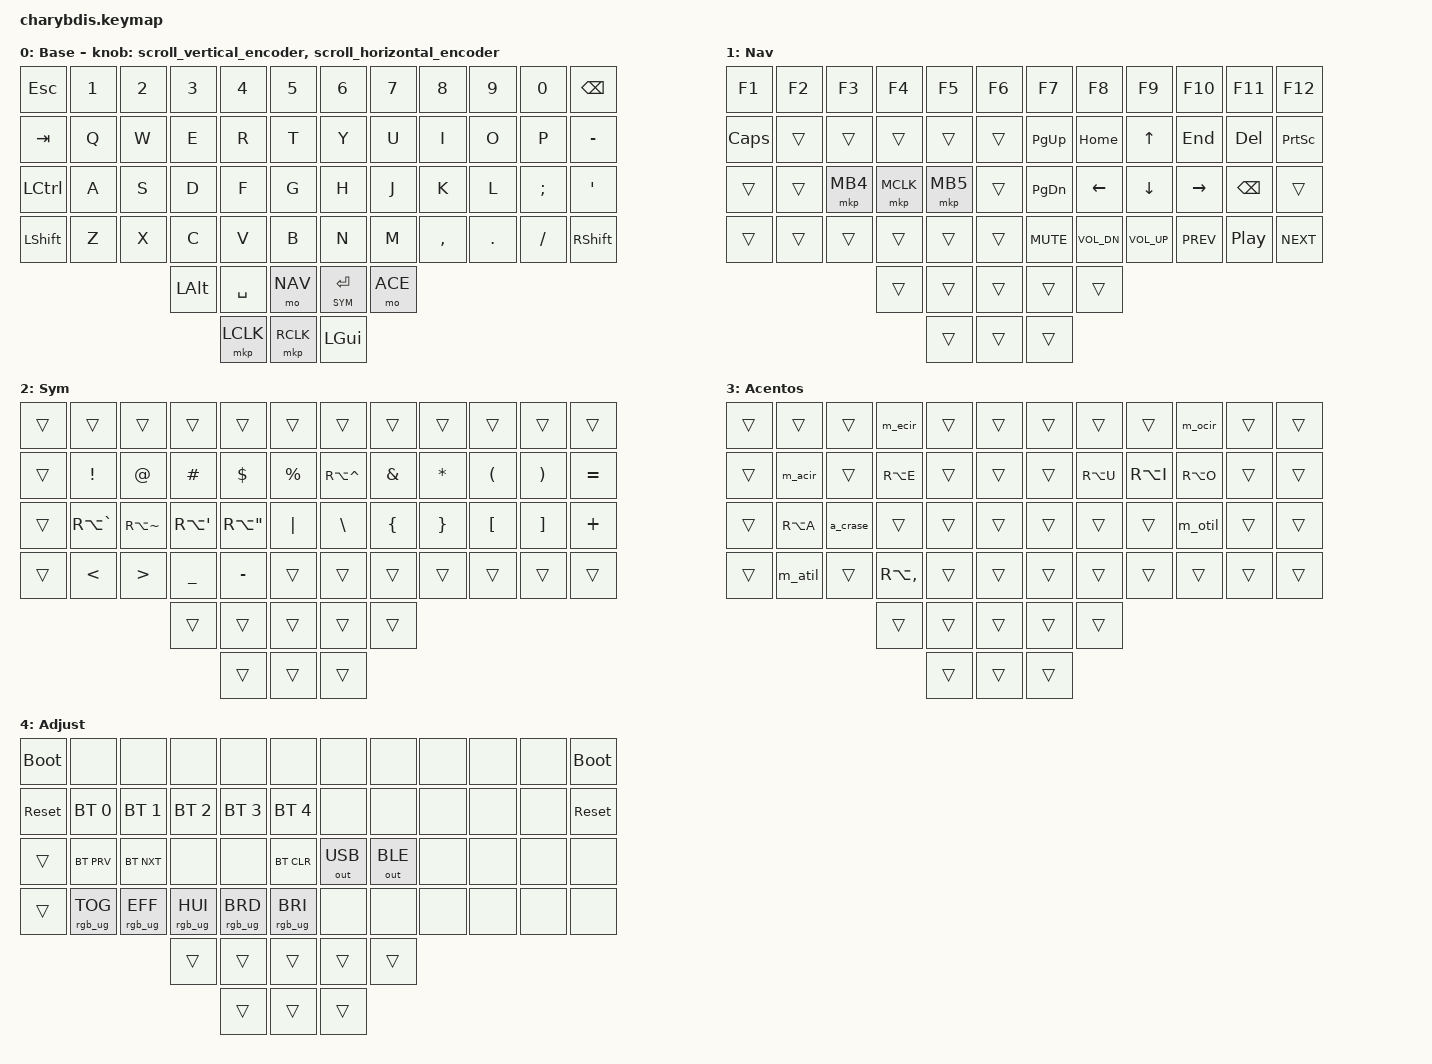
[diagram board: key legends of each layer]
/*
 * Charybdis 4x6 BT — layout EN/PT-BR
 * Requer layout do SO: "English (US, intl., with dead keys)" (us+intl)
 *
 * Camadas:
 *   0 BASE  QWERTY
 *   1 NAV   setas/F-keys/mídia — segurar faz o trackball rolar (scroll-layers = <1>)
 *   2 SYM   símbolos + aspas/crase/til "literais" (sem dead key)
 *   3 ACE   acentos PT: agudo na vogal, circunflexo acima, til abaixo
 *   4 ADJ   Bluetooth/RGB/bootloader (NAV + SYM juntos)
 */

#define ZMK_POINTING_DEFAULT_SCRL_VAL 25
#include <dt-bindings/zmk/mouse.h>
#include <input/processors.dtsi>
#include <zephyr/dt-bindings/input/input-event-codes.h>
#include <behaviors.dtsi>
#include <dt-bindings/zmk/bt.h>
#include <dt-bindings/zmk/keys.h>
#include <dt-bindings/zmk/outputs.h>
#include <dt-bindings/zmk/pointing.h>
#include <dt-bindings/zmk/rgb.h>

#define BASE 0
#define NAV  1
#define SYM  2
#define ACE  3
#define ADJ  4

&lt {
    tapping-term-ms = <200>;
    flavor = "balanced";
    quick-tap-ms = <150>;
};

&msc {
    acceleration-exponent = <0>;
    time-to-max-speed-ms = <30>;
    delay-ms = <0>;
};

// dead key + letra (us+intl). Shift segurado vira maiúscula: ~ e ^ já usam Shift.
#define DEAD(name, dead, key) \
    name: name { \
        compatible = "zmk,behavior-macro"; \
        #binding-cells = <0>; \
        bindings = <&kp dead &kp key>; \
    };

/ {
    scroll_vertical_encoder: scroll_vertical_encoder {
        compatible = "zmk,behavior-sensor-rotate";
        #sensor-binding-cells = <0>;
        bindings = <&msc SCRL_DOWN>, <&msc SCRL_UP>;
        tap-ms = <64>;
    };

    scroll_horizontal_encoder: scroll_horizontal_encoder {
        compatible = "zmk,behavior-sensor-rotate";
        #sensor-binding-cells = <0>;
        bindings = <&msc SCRL_LEFT>, <&msc SCRL_RIGHT>;
        tap-ms = <64>;
    };

    macros {
        DEAD(m_atil, TILDE, A)
        DEAD(m_otil, TILDE, O)
        DEAD(m_acir, CARET, A)
        DEAD(m_ecir, CARET, E)
        DEAD(m_ocir, CARET, O)
        // ` com Shift vira ~ no us+intl, por isso À precisa de mod-morph
        DEAD(m_acrase, GRAVE, A)
        DEAD(m_acrase_shift, GRAVE, LS(A))
    };

    behaviors {
        a_crase: a_crase {
            compatible = "zmk,behavior-mod-morph";
            #binding-cells = <0>;
            bindings = <&m_acrase>, <&m_acrase_shift>;
            mods = <(MOD_LSFT|MOD_RSFT)>;
        };
    };

    conditional_layers {
        compatible = "zmk,conditional-layers";
        adjust {
            if-layers = <NAV SYM>;
            then-layer = <ADJ>;
        };
    };

    keymap {
        compatible = "zmk,keymap";

        base {
            display-name = "Base";
            bindings = <
&kp ESC    &kp N1  &kp N2  &kp N3    &kp N4     &kp N5        &kp N6        &kp N7    &kp N8     &kp N9   &kp N0    &kp BSPC
&kp TAB    &kp Q   &kp W   &kp E     &kp R      &kp T         &kp Y         &kp U     &kp I      &kp O    &kp P     &kp MINUS
&kp LCTRL  &kp A   &kp S   &kp D     &kp F      &kp G         &kp H         &kp J     &kp K      &kp L    &kp SEMI  &kp SQT
&kp LSHFT  &kp Z   &kp X   &kp C     &kp V      &kp B         &kp N         &kp M     &kp COMMA  &kp DOT  &kp FSLH  &kp RSHFT
                           &kp LALT  &kp SPACE  &mo NAV       &lt SYM ENTER &mo ACE
                                     &mkp LCLK  &mkp RCLK     &kp LGUI
            >;
            sensor-bindings = <&scroll_vertical_encoder &scroll_horizontal_encoder>;
        };

        nav {
            display-name = "Nav";
            bindings = <
&kp F1    &kp F2  &kp F3    &kp F4     &kp F5    &kp F6        &kp F7      &kp F8      &kp F9      &kp F10    &kp F11   &kp F12
&kp CAPS  &trans  &trans    &trans     &trans    &trans        &kp PG_UP   &kp HOME    &kp UP      &kp END    &kp DEL   &kp PSCRN
&trans    &trans  &mkp MB4  &mkp MCLK  &mkp MB5  &trans        &kp PG_DN   &kp LEFT    &kp DOWN    &kp RIGHT  &kp BSPC  &trans
&trans    &trans  &trans    &trans     &trans    &trans        &kp C_MUTE  &kp C_VOL_DN &kp C_VOL_UP &kp C_PREV &kp C_PP &kp C_NEXT
                            &trans     &trans    &trans        &trans      &trans
                                       &trans    &trans        &trans
            >;
        };

        sym {
            display-name = "Sym";
            bindings = <
&trans  &trans         &trans         &trans       &trans       &trans        &trans         &trans     &trans     &trans     &trans     &trans
&trans  &kp EXCL       &kp AT         &kp HASH     &kp DLLR     &kp PRCNT     &kp RA(CARET)  &kp AMPS   &kp STAR   &kp LPAR   &kp RPAR   &kp EQUAL
&trans  &kp RA(GRAVE)  &kp RA(TILDE)  &kp RA(SQT)  &kp RA(DQT)  &kp PIPE      &kp BSLH       &kp LBRC   &kp RBRC   &kp LBKT   &kp RBKT   &kp PLUS
&trans  &kp LT         &kp GT         &kp UNDER    &kp MINUS    &trans        &trans         &trans     &trans     &trans     &trans     &trans
                                      &trans       &trans       &trans        &trans         &trans
                                                   &trans       &trans        &trans
            >;
        };

        ace {
            display-name = "Acentos";
            bindings = <
&trans  &trans      &trans    &m_ecir      &trans  &trans        &trans  &trans     &trans     &m_ocir    &trans  &trans
&trans  &m_acir     &trans    &kp RA(E)    &trans  &trans        &trans  &kp RA(U)  &kp RA(I)  &kp RA(O)  &trans  &trans
&trans  &kp RA(A)   &a_crase  &trans       &trans  &trans        &trans  &trans     &trans     &m_otil    &trans  &trans
&trans  &m_atil     &trans    &kp RA(COMMA) &trans &trans        &trans  &trans     &trans     &trans     &trans  &trans
                              &trans       &trans  &trans        &trans  &trans
                                           &trans  &trans        &trans
            >;
        };

        adj {
            display-name = "Adjust";
            bindings = <
&bootloader  &none            &none            &none            &none            &none              &none        &none        &none  &none  &none  &bootloader
&sys_reset   &bt BT_SEL 0     &bt BT_SEL 1     &bt BT_SEL 2     &bt BT_SEL 3     &bt BT_SEL 4       &none        &none        &none  &none  &none  &sys_reset
&trans       &bt BT_PRV       &bt BT_NXT       &none            &none            &bt BT_CLR         &out OUT_USB &out OUT_BLE &none  &none  &none  &none
&trans       &rgb_ug RGB_TOG  &rgb_ug RGB_EFF  &rgb_ug RGB_HUI  &rgb_ug RGB_BRD  &rgb_ug RGB_BRI    &none        &none        &none  &none  &none  &none
                                               &trans           &trans           &trans             &trans       &trans
                                                                &trans           &trans             &trans
            >;
        };

        // livres para editar pelo ZMK Studio
        extra1 {
            status = "reserved";
            bindings = <
&trans &trans &trans &trans &trans &trans   &trans &trans &trans &trans &trans &trans
&trans &trans &trans &trans &trans &trans   &trans &trans &trans &trans &trans &trans
&trans &trans &trans &trans &trans &trans   &trans &trans &trans &trans &trans &trans
&trans &trans &trans &trans &trans &trans   &trans &trans &trans &trans &trans &trans
                     &trans &trans &trans   &trans &trans
                            &trans &trans   &trans
            >;
        };

        extra2 {
            status = "reserved";
            bindings = <
&trans &trans &trans &trans &trans &trans   &trans &trans &trans &trans &trans &trans
&trans &trans &trans &trans &trans &trans   &trans &trans &trans &trans &trans &trans
&trans &trans &trans &trans &trans &trans   &trans &trans &trans &trans &trans &trans
&trans &trans &trans &trans &trans &trans   &trans &trans &trans &trans &trans &trans
                     &trans &trans &trans   &trans &trans
                            &trans &trans   &trans
            >;
        };
    };
};
